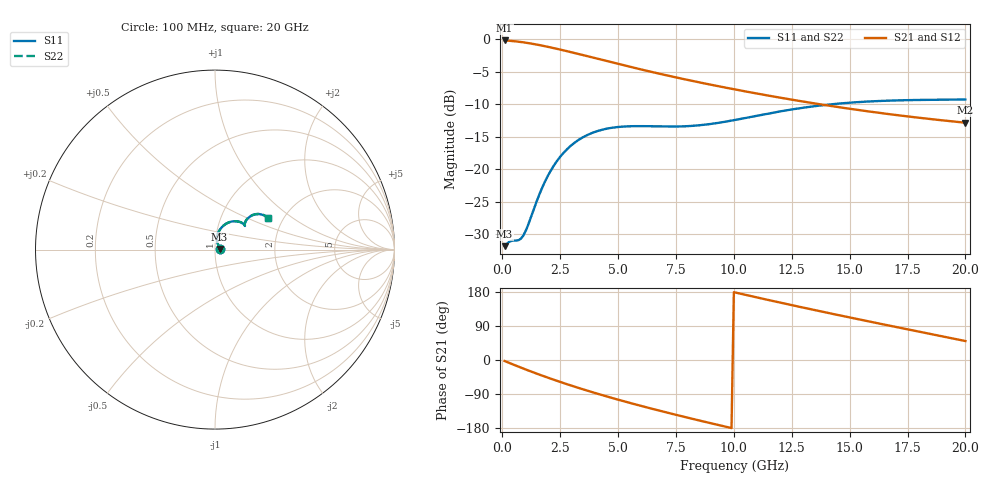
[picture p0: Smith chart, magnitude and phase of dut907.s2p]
! Touchstone file exported from HFSS 2024.1.0
!  File:  C:/UserFiles/LocalFiles/RDL_TSV_Batchsim/temp_RDL_TSV_907_1779954917.aedt
!  Generated:  04:12:21 PM May 28, 2026
!  Design:  RDL_TSV
!  Project:  temp_RDL_TSV_907_1779954917
!  Setup:  Setup1
!  Solution:  Sweep
! Variables:
!  dtsv = 13.25um
!  hbump = 3um
!  htsv = 67.05um
!  ldown = 674.72um
!  lrdl = 685.73um
!  p = 40
!  p1 = 45.05um
!  rhole = 10um
!  subl = 4767.08um
!  t = 450um
!  tdown = 2.75um
!  trdl = 3.53um
!  viad = 10um
!  wdown = 25um
!  wrdl = 18.28um
!  xbump = 18um
# GHz S MA R 50.000000
! Terminal data exported
! Port[1] = TM1_1_T1
! Port[2] = TM1_4_T1
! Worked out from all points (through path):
!   200 points, 100 MHz to 20 GHz, reference 50 ohm
!   highest |S21| = -0.23 dB at 100 MHz (marker M1); lowest = -12.9 dB at 20 GHz (marker M2)
!   group delay of S21, straight-line fit = 41.1 ps
!   lowest |S11| = -31.8 dB at 100 MHz (marker M3), VSWR 1.05, Z = 52.6 + j0.355 ohm
!   |S11| at or under -10 dB: start of sweep to 14.31 GHz
!   |S22| runs from -31.8 to -9.2 dB; largest |S21 - S12| = 1e-14
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0.1  0.02563 7.6  0.9741 -2.6  0.9741 -2.6  0.02563 7.6
! Gamma 0 0 0 0
! Port Impedance 50 0 50 0
0.3  0.0277 17.8  0.969 -7.7  0.969 -7.7  0.02771 17.7
0.5  0.0283 26.1  0.9618 -12.7  0.9618 -12.7  0.02831 26.0
0.7  0.0285 37.8  0.9531 -17.6  0.9531 -17.6  0.0285 37.7
0.9  0.03078 52.5  0.9429 -22.4  0.9429 -22.4  0.03076 52.3
1.1  0.03667 65.6  0.9313 -27.1  0.9313 -27.1  0.0366 65.5
1.4  0.05151 77.0  0.9119 -34.0  0.9119 -34.0  0.05137 76.9
1.8  0.0773 80.4  0.8832 -43.0  0.8832 -43.0  0.07708 80.3
2.2  0.1047 77.8  0.8526 -51.6  0.8526 -51.6  0.1045 77.8
2.6  0.1307 73.0  0.8213 -59.9  0.8213 -59.9  0.1304 73.1
3.5  0.1766 61.0  0.751 -77.7  0.751 -77.7  0.1762 61.1
4.3  0.2007 51.7  0.6917 -92.4  0.6917 -92.4  0.2002 51.8
5.1  0.2116 44.8  0.6374 -106.4  0.6374 -106.4  0.2111 44.8
5.9  0.2141 40.3  0.5886 -119.6  0.5886 -119.6  0.2136 40.4
6.8  0.2129 38.3  0.5402 -133.9  0.5402 -133.9  0.2124 38.4
8.3  0.2158 39.8  0.4726 -156.6  0.4726 -156.6  0.2155 40.0
10.1  0.2397 43.2  0.408 177.6  0.408 177.6  0.2398 43.4
11.7  0.2717 43.2  0.3618 155.5  0.3618 155.5  0.2723 43.4
13.4  0.3032 40.5  0.3218 132.9  0.3218 132.9  0.3042 40.7
15  0.3241 37.1  0.2911 112.3  0.2911 112.3  0.3253 37.2
16.7  0.3361 33.8  0.2648 90.9  0.2648 90.9  0.3376 33.9
20  0.343 30.6  0.2274 50.1  0.2274 50.1  0.3448 30.5
